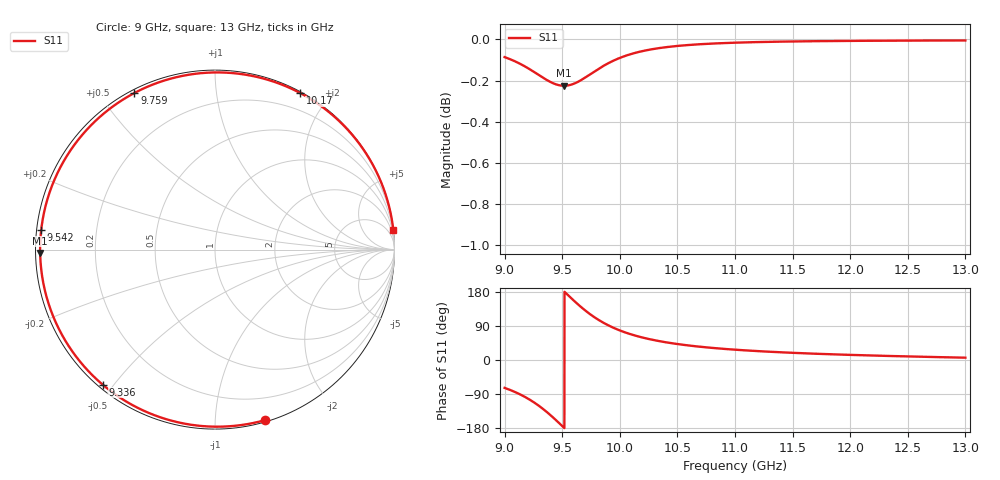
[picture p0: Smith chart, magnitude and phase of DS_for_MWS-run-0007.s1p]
! TOUCHSTONE file generated by CST DESIGN STUDIO
! Date and time: Tue Feb  4 14:14:37 2025
! Project name: C:\Work\MatlabApps\UnitCellOptimizationMatlab\CST\unitcell.cst
! Tree item: Tasks\Sweep1\SPara1\S-Parameters
! Header version: 2024
! Port assignment regex: !\s*Touchstone port\s*([0-9]+)\s*=\s*(CST MWS port|CST DES external port|CST DES block port)\s*(.+)\s* \(\"(.*)\"\)(\s*mode\s*([0-9]+))?.*
! Touchstone port assignment:
! Touchstone port 1 = CST DES external port 1 ("")
# GHz S MA R 50
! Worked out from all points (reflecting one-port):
!   4001 points, 9 GHz to 13 GHz, reference 50 ohm
!   lowest |S11| = -0.2 dB at 9.516 GHz (marker M1), VSWR 77.13, Z = 0.648 - j0.5 ohm
!   phase of S11 starts at -74 deg and turns -280 deg over the sweep
!   S11 on the Smith chart (normalised r, x): 9 GHz: 0.01, -1.34; 9.336 GHz: 0.01, -0.47; 9.542 GHz: 0.01, +0.06; 9.759 GHz: 0.01, +0.61; 10.17 GHz: 0.01, +1.68; 13 GHz: 0, +19
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9  0.9901 -73.6
9.091  0.9878 -84.6
9.196  0.9843 -100.7
9.269  0.9814 -114.7
9.336  0.9787 -129.8
9.381  0.977 -141.0
9.427  0.9756 -153.4
9.464  0.9748 -163.8
9.5  0.9744 -174.2
9.516  0.9744 -178.9
9.542  0.9745 173.6
9.596  0.9754 158.1
9.656  0.9772 141.7
9.707  0.9792 129.0
9.759  0.9814 117.2
9.809  0.9834 107.1
9.864  0.9855 97.3
10  0.9897 78.0
10.082  0.9916 69.2
10.17  0.9931 61.4
10.32  0.9949 51.1
10.5  0.9964 42.1
10.722  0.9974 34.2
11  0.9982 27.2
11.5  0.9989 18.9
12  0.9992 13.5
12.5  0.9993 9.4
13  0.9994 6.1
